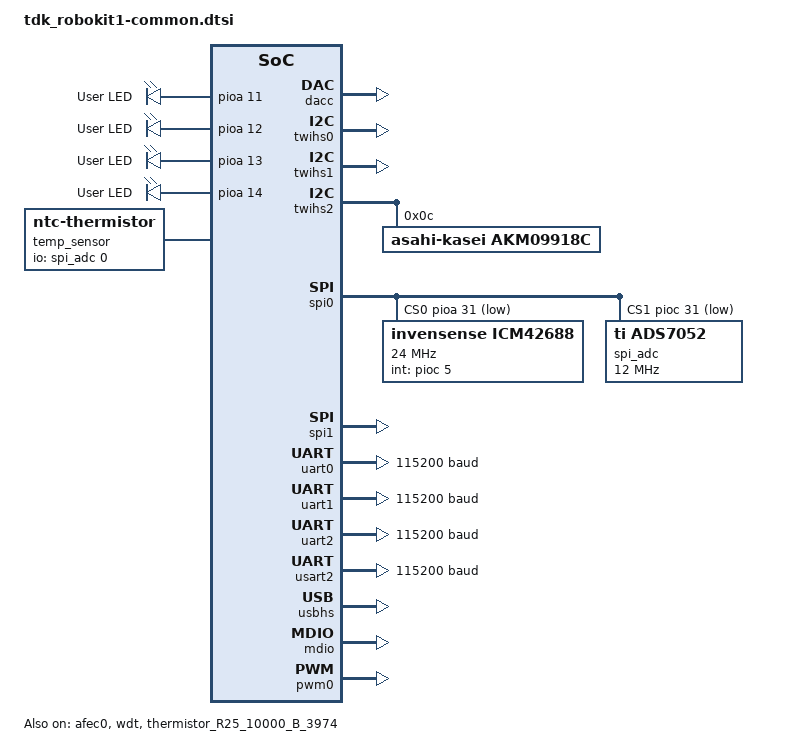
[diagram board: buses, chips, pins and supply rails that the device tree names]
/*
 * Copyright (c) 2022 Intel Corporation
 *
 * SPDX-License-Identifier: Apache-2.0
 */

#include "tdk_robokit1-pinctrl.dtsi"
#include "tdk_robokit1-thermistor.dtsi"

/ {
	aliases {
		led0 = &led_0;
		magn0 = &akm09918c;
		accel0 = &icm42688;
		die-temp0 = &icm42688;
		ambient-temp0 = &temp_sensor;
	};

	chosen {
		zephyr,console = &uart2;
		zephyr,shell-uart = &uart2;
		zephyr,sram = &sram0;
		zephyr,flash = &flash0;
		zephyr,code-partition = &slot0_partition;
	};

	leds {
		compatible = "gpio-leds";
		led_0: led_0 {
			gpios = <&pioa 11 GPIO_ACTIVE_HIGH>;
			label = "User LED";
		};
		led_1: led_1 {
			gpios = <&pioa 12 GPIO_ACTIVE_HIGH>;
			label = "User LED";
		};
		led_2: led_2 {
			gpios = <&pioa 13 GPIO_ACTIVE_HIGH>;
			label = "User LED";
		};
		led_3: led_3 {
			gpios = <&pioa 14 GPIO_ACTIVE_HIGH>;
			label = "User LED";
		};
	};

	temp_sensor: ambient_temp_sensor {
		compatible = "zephyr,ntc-thermistor";
		io-channels = <&spi_adc 0>;
		zephyr,rt-table = <&thermistor_R25_10000_B_3974>;
		r25-ohm = <10000>;
		pullup-uv = <3300000>;
		pullup-ohm = <0>;
		pulldown-ohm = <10000>;
		connection-type = "NTC_CONNECTED_POSITIVE";
	};
};

&cpu0 {
	clock-frequency = <300000000>;
};

&afec0 {
	pinctrl-0 = <&afec0_default>;
	pinctrl-names = "default";
	status = "okay";
};

&dacc {
	status = "okay";
};

&twihs0 {
	pinctrl-0 = <&twihs0_default>;
	pinctrl-names = "default";
	status = "okay";
};

&twihs1 {
	pinctrl-0 = <&twihs1_default>;
	pinctrl-names = "default";
	status = "okay";
};

&twihs2 {
	pinctrl-0 = <&twihs2_default>;
	pinctrl-names = "default";
	status = "okay";
	akm09918c: akm09918c@c {
		compatible = "asahi-kasei,akm09918c";
		reg = <0xc>;
	};
};

&spi0 {
	pinctrl-0 = <&spi0_default>;
	pinctrl-names = "default";
	dmas = <&xdmac 0 DMA_PERID_SPI0_TX>, <&xdmac 1 DMA_PERID_SPI0_RX>;
	dma-names = "tx", "rx";
	cs-gpios =<&pioa 31 GPIO_ACTIVE_LOW>,
				<&pioc 31 GPIO_ACTIVE_LOW>;
	status = "okay";

	icm42688: icm42688p@0 {
		compatible = "invensense,icm42688";
		reg = <0>;
		int-gpios = <&pioc 5 GPIO_ACTIVE_HIGH>;
		spi-max-frequency = <24000000>;
		accel-hz = <32000>;
		accel-fs = <16>;
		gyro-hz = <32000>;
		gyro-fs = <2000>;
	};
	spi_adc: adc@1 {
		compatible = "ti,ads7052";
		reg = <1>;
		#io-channel-cells = <1>;
		#address-cells = <1>;
		#size-cells = <0>;
		spi-max-frequency = <12000000>;
		channel@0 {
			reg = <0>;
			zephyr,gain = "ADC_GAIN_1";
			zephyr,reference = "ADC_REF_VDD_1";
			zephyr,vref-mv = <3300>;
			zephyr,acquisition-time = <ADC_ACQ_TIME_DEFAULT>;
			zephyr,resolution = <14>;
		};
	};
};

&spi1 {
	pinctrl-0 = <&spi1_default>;
	pinctrl-names = "default";
	cs-gpios = <&pioc 25 GPIO_ACTIVE_LOW>;
	status = "okay";
};

&uart0 {
	current-speed = <115200>;
	pinctrl-0 = <&uart0_default>;
	pinctrl-names = "default";
	status = "okay";
};

&uart1 {
	current-speed = <115200>;
	pinctrl-0 = <&uart1_default>;
	pinctrl-names = "default";
	status = "okay";
};

&uart2 {
	current-speed = <115200>;
	pinctrl-0 = <&uart2_default>;
	pinctrl-names = "default";
	status = "okay";
};

&usart2 {
	current-speed = <115200>;
	pinctrl-0 = <&usart2_default>;
	pinctrl-names = "default";
	status = "okay";
};

&wdt {
	status = "okay";
};

zephyr_udc0: &usbhs {
	status = "okay";
};

&mdio {
	pinctrl-0 = <&mdio_default>;
	pinctrl-names = "default";
	status = "okay";
};

&pwm0 {
	pinctrl-0 = <&pwm_default>;
	pinctrl-names = "default";
	status = "okay";
};


&xdmac {
	status = "okay";
};

&flash0 {
	partitions {
		compatible = "fixed-partitions";
		#address-cells = <1>;
		#size-cells = <1>;

		/*
		 * The first half of sector 0 (64 kbytes)
		 * is reserved for the bootloader
		 */
		boot_partition: partition@0 {
			label = "mcuboot";
			reg = <0x0 0x00010000>;
			read-only;
		};

		/* From sector 1 to sector 7 (included): slot0 (896 kbytes) */
		slot0_partition: partition@20000 {
			label = "image-0";
			reg = <0x00020000 0x000e0000>;
		};

		/* From sector 8 to sector 14 (included): slot1 (896 kbytes) */
		slot1_partition: partition@100000 {
			label = "image-1";
			reg = <0x00100000 0x000e0000>;
		};

		/* Sector 15: scratch (128 kbytes) */
		scratch_partition: partition@1e0000 {
			label = "image-scratch";
			reg = <0x001e0000 0x00020000>;
		};
	};
};

&thermistor_R25_10000_B_3974 {
	status = "okay";
};
